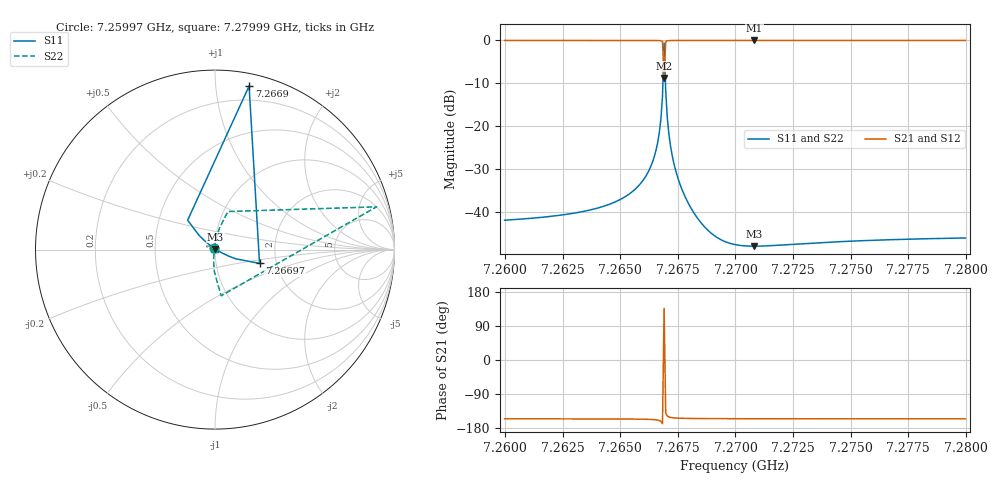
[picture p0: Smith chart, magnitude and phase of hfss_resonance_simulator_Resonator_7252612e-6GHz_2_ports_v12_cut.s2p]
! Touchstone file exported from HFSS 2024.1.0
!  File:  C:/Users/alex_0000/Desktop/hfss_resonance_simulator (1).aedt
!  Generated:  06:27:55 PM Jun  4, 2025
!  Design:  hfssO1XZ3E2
!  Project:  hfss_resonance_simulator (1)
!  Setup:  Setup1
!  Solution:  Sweep
! Created with skrf (http://scikit-rf.org).
# GHz S RI R 50.0
! Port[1] = 1
! Port[2] = 2
!freq ReS11 ImS11 ReS21 ImS21 ReS12 ImS12 ReS22 ImS22
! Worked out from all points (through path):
!   287 points, 7.25997 GHz to 7.27999 GHz, reference 50 ohm
!   highest |S21| = 0.00 dB at 7.27082 GHz (marker M1); lowest = -8.7 dB at 7.2669 GHz (marker M2)
!   lowest |S11| = -47.9 dB at 7.27082 GHz (marker M3), VSWR 1.01, Z = 50.2 + j0.34 ohm
!   |S11| at or under -10 dB: start of sweep to 7.266847 GHz; 7.266959 GHz to end of sweep
!   |S22| runs from -47.9 to -0.6 dB; largest |S21 - S12| = 2.3e-13
!   S11 on the Smith chart (normalised r, x): 7.25997 GHz: 0.99, +0.01; 7.2669 GHz: 0.09, +1.23; 7.26697 GHz: 1.63, -0.27; 7.27999 GHz: 1.00, +0.01
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7.25997  -0.0036 0.00725  -0.9073 -0.4203  -0.9073 -0.4203  -0.0032 0.00743
7.26333  -0.00551 0.00853  -0.9088 -0.417  -0.9088 -0.417  -0.00287 0.00974
7.26473  -0.00806 0.0103  -0.9103 -0.4137  -0.9103 -0.4137  -0.00244 0.0128
7.26571  -0.0134 0.014  -0.913 -0.4074  -0.913 -0.4074  -0.00147 0.0193
7.26634  -0.0262 0.0234  -0.9192 -0.3923  -0.9192 -0.3923  0.00127 0.0351
7.26655  -0.0403 0.0344  -0.9253 -0.3754  -0.9253 -0.3754  0.00492 0.0527
7.26669  -0.0637 0.0547  -0.9346 -0.3457  -0.9346 -0.3457  0.0128 0.083
7.26676  -0.0902 0.0811  -0.9433 -0.3091  -0.9433 -0.3091  0.0247 0.1188
7.26683  -0.1524 0.1637  -0.9527 -0.2057  -0.9527 -0.2057  0.0713 0.212
7.2669  0.19 0.9113  -0.265 0.2513  -0.265 0.2513  0.8999 0.2382
7.26697  0.2481 -0.0768  -0.7381 -0.6227  -0.7381 -0.6227  0.0339 -0.2575
7.26704  0.1135 -0.0508  -0.8392 -0.5293  -0.8392 -0.5293  -0.00304 -0.1243
7.26711  0.0725 -0.0348  -0.8658 -0.4939  -0.8658 -0.4939  -0.00696 -0.0801
7.26725  0.0416 -0.0198  -0.8843 -0.4647  -0.8843 -0.4647  -0.00729 -0.0454
7.26746  0.0249 -0.0106  -0.8936 -0.448  -0.8936 -0.448  -0.00644 -0.0263
7.26781  0.0146 -0.00442  -0.8993 -0.4371  -0.8993 -0.4371  -0.00552 -0.0142
7.26879  0.00617 0.000825  -0.9038 -0.4279  -0.9038 -0.4279  -0.00455 -0.00425
7.26998  0.0032 0.00273  -0.9055 -0.4243  -0.9055 -0.4243  -0.00415 -0.000711
7.27082  0.0022 0.00338  -0.9062 -0.4229  -0.9062 -0.4229  -0.004 0.000488
7.27334  0.000771 0.00431  -0.9073 -0.4205  -0.9073 -0.4205  -0.00379 0.0022
7.2767  2.38e-05 0.00479  -0.9082 -0.4185  -0.9082 -0.4185  -0.00366 0.0031
7.27999  -0.000326 0.00502  -0.9089 -0.417  -0.9089 -0.417  -0.00359 0.00352
